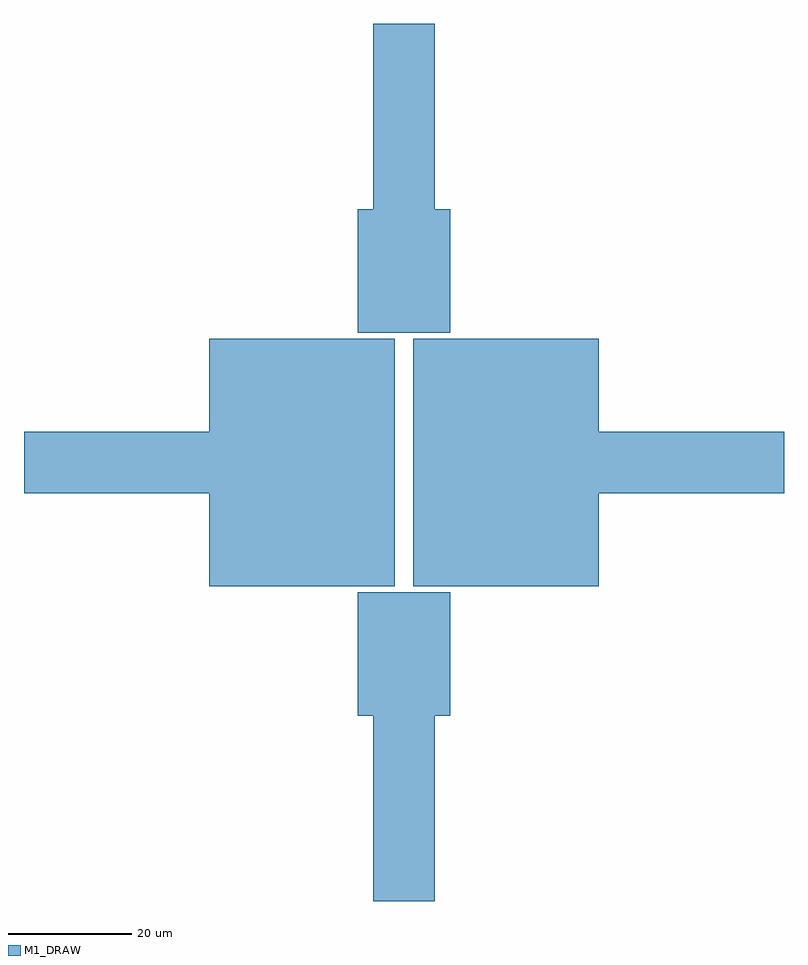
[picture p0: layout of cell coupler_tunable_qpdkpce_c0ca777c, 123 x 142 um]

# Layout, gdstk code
import gdstk
lib = gdstk.Library(unit=1e-6, precision=1e-09)
def R(c, l, rs):  # rectangles x0, y0, x1, y1
    for r in rs: c.add(gdstk.rectangle(r[:2], r[2:], *l))
M1_DRAW = (1, 0)

rectangle_gdsfactorypco_ = lib.new_cell('rectangle_gdsfactorypco_d184fdd3')
R(rectangle_gdsfactorypco_, M1_DRAW, [(0,0,30,40)])

c_rectangle_gdsfactorypco_ = lib.new_cell('rectangle_gdsfactorypco_a3bd82cb')
R(c_rectangle_gdsfactorypco_, M1_DRAW, [(0,0,15,20)])

c_rectangle_gdsfactorypco__ = lib.new_cell('rectangle_gdsfactorypco_5525223e')
R(c_rectangle_gdsfactorypco__, M1_DRAW, [(0,0,30,10)])

c_rectangle_gdsfactorypco___ = lib.new_cell('rectangle_gdsfactorypco_d18dac4d')
R(c_rectangle_gdsfactorypco___, M1_DRAW, [(0,0,10,30)])

coupler_tunable_qpdkpce_ = lib.new_cell('coupler_tunable_qpdkpce_c0ca777c')
coupler_tunable_qpdkpce_.add(gdstk.Reference(rectangle_gdsfactorypco_, (-31.5,-20)))
coupler_tunable_qpdkpce_.add(gdstk.Reference(rectangle_gdsfactorypco_, (1.5,-20)))
coupler_tunable_qpdkpce_.add(gdstk.Reference(c_rectangle_gdsfactorypco_, (-7.5,21)))
coupler_tunable_qpdkpce_.add(gdstk.Reference(c_rectangle_gdsfactorypco_, (-7.5,-41)))
coupler_tunable_qpdkpce_.add(gdstk.Reference(c_rectangle_gdsfactorypco__, (-61.5,-5)))
coupler_tunable_qpdkpce_.add(gdstk.Reference(c_rectangle_gdsfactorypco__, (31.5,-5)))
coupler_tunable_qpdkpce_.add(gdstk.Reference(c_rectangle_gdsfactorypco___, (-5,41)))
coupler_tunable_qpdkpce_.add(gdstk.Reference(c_rectangle_gdsfactorypco___, (-5,-71)))

lib.write_gds('coupler_tunable_qpdkpce_c0ca777c.gds')
